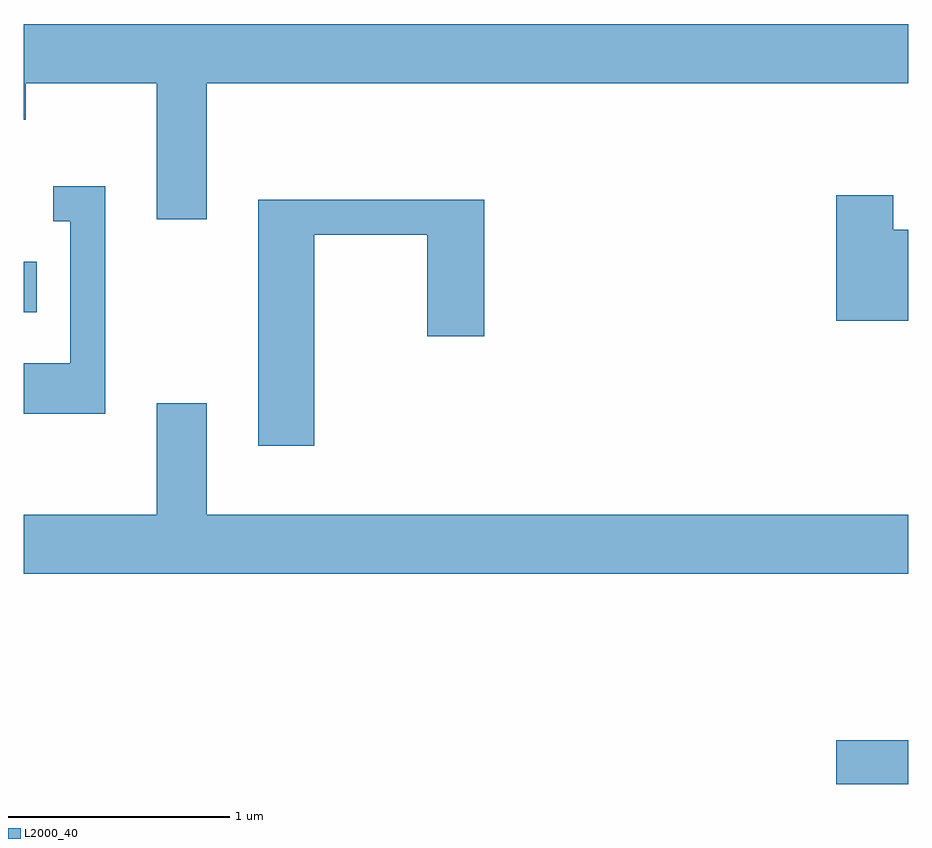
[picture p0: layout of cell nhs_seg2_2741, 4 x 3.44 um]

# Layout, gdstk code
import gdstk
lib = gdstk.Library(unit=1e-6, precision=1e-09)
def R(c, l, rs):  # rectangles x0, y0, x1, y1
    for r in rs: c.add(gdstk.rectangle(r[:2], r[2:], *l))
def P(c, l, *ps):  # polygons
    for p in ps: c.add(gdstk.Polygon(p, *l))
L2000_40 = (2000, 40)

nhs_seg2_2741 = lib.new_cell('nhs_seg2_2741')
R(nhs_seg2_2741, L2000_40, [(269.286,1031.826,269.611,1032.024), (265.611,1033.961,265.669,1034.189)])
P(nhs_seg2_2741, L2000_40, [(266.439,1034.996),(269.611,1034.996),(269.611,1035.264),(265.611,1035.264),(265.611,1034.831),(265.619,1034.831),(265.619,1034.996),(266.211,1034.996),(266.211,1034.381),(266.439,1034.381)],
  [(265.979,1034.529),(265.743,1034.529),(265.743,1034.371),(265.821,1034.371),(265.821,1033.729),(265.611,1033.729),(265.611,1033.501),(265.979,1033.501)],
  [(269.611,1034.334),(269.544,1034.334),(269.544,1034.489),(269.286,1034.489),(269.286,1033.921),(269.611,1033.921)],
  [(266.924,1034.311),(267.436,1034.311),(267.436,1033.851),(267.694,1033.851),(267.694,1034.469),(266.671,1034.469),(266.671,1033.356),(266.924,1033.356)],
  [(269.611,1033.044),(266.439,1033.044),(266.439,1033.549),(266.211,1033.549),(266.211,1033.044),(265.611,1033.044),(265.611,1032.776),(269.611,1032.776)])

lib.write_gds('nhs_seg2_2741.gds')
